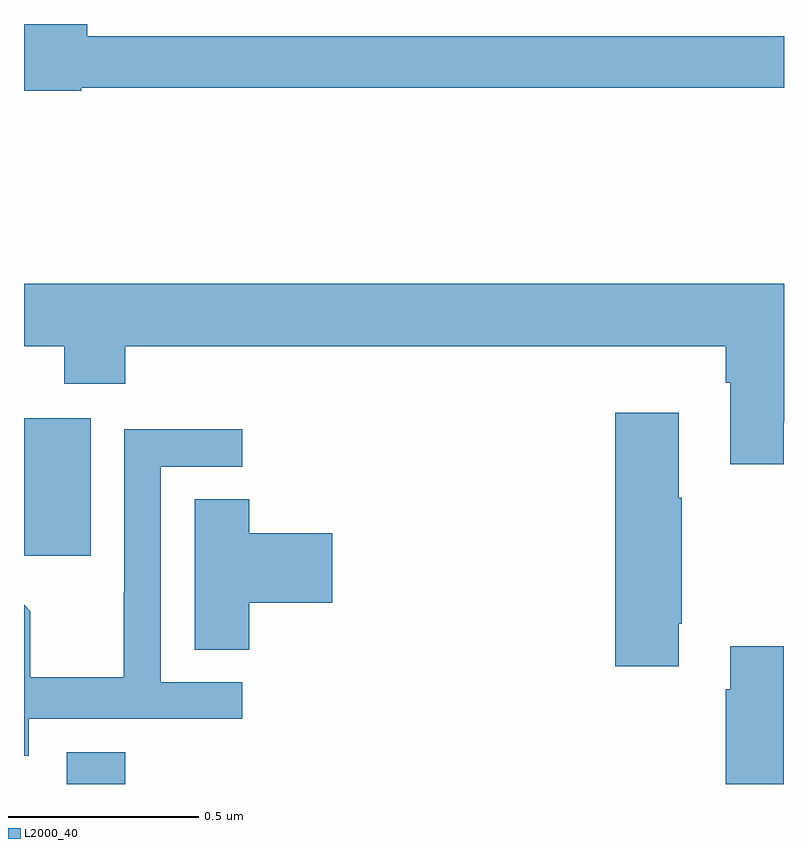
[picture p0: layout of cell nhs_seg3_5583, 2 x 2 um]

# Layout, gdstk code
import gdstk
lib = gdstk.Library(unit=1e-6, precision=1e-09)
def R(c, l, rs):  # rectangles x0, y0, x1, y1
    for r in rs: c.add(gdstk.rectangle(r[:2], r[2:], *l))
def P(c, l, *ps):  # polygons
    for p in ps: c.add(gdstk.Polygon(p, *l))
L2000_40 = (2000, 40)

nhs_seg3_5583 = lib.new_cell('nhs_seg3_5583')
R(nhs_seg3_5583, L2000_40, [(180.113,730.4,180.266,730.483), (180,731.001,180.175,731.362)])
P(nhs_seg3_5583, L2000_40, [(180.15,732.232),(182,732.232),(182,732.368),(180.167,732.368),(180.167,732.4),(180,732.4),(180,732.224),(180.15,732.224)],
  [(181.999,731.353),(182,731.353),(182,731.716),(180,731.716),(180,731.552),(180.106,731.552),(180.106,731.453),(180.266,731.453),(180.266,731.552),(181.847,731.552),(181.847,731.456),(181.859,731.456),(181.859,731.241),(181.999,731.241)],
  [(181.723,730.822),(181.731,730.822),(181.731,731.153),(181.723,731.153),(181.723,731.377),(181.556,731.377),(181.556,730.71),(181.723,730.71)],
  [(180.012,730.572),(180.574,730.572),(180.574,730.668),(180.36,730.668),(180.36,731.235),(180.574,731.235),(180.574,731.334),(180.264,731.334),(180.264,730.904),(180.262,730.904),(180.262,730.681),(180.017,730.681),(180.017,730.855),(180,730.872),(180,730.475),(180.012,730.475)],
  [(180.593,730.877),(180.811,730.877),(180.811,731.06),(180.593,731.06),(180.593,731.15),(180.449,731.15),(180.449,730.753),(180.593,730.753)],
  [(181.999,730.762),(181.859,730.762),(181.859,730.649),(181.847,730.649),(181.847,730.4),(181.999,730.4)])

lib.write_gds('nhs_seg3_5583.gds')
